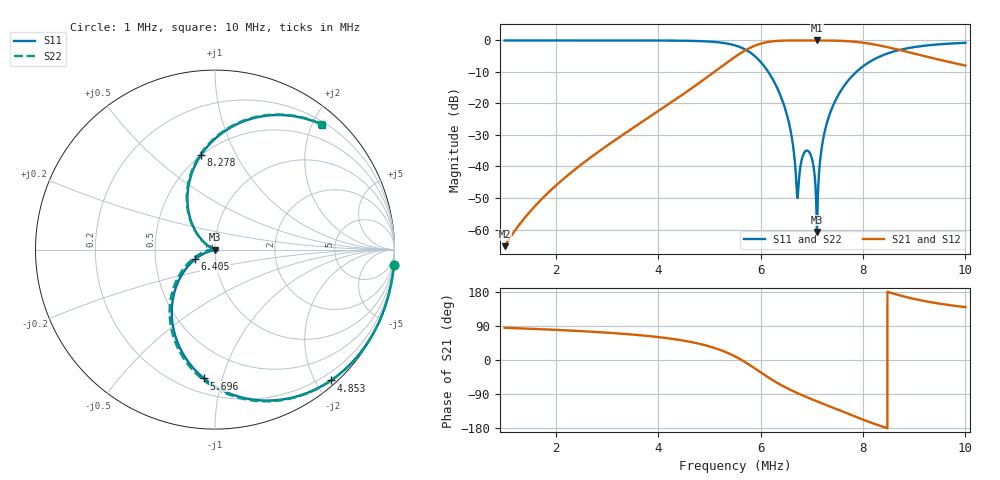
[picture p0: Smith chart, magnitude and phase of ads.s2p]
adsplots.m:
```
close all; clear; clc;

scriptDir = fileparts(mfilename("fullpath"));
epsDir = [scriptDir, '/eps/ads'];
mkdir(epsDir)

LW = 1;

%% ---------------- figure style ----------------
figW = 3.45;
figH = 2.25;



setYlimRule = @(ax,y) ylim(ax, [0.8*min(y) 1.2*max(y)]);


%% ---------------- Load MEAS data ----------------
ads = sparameters('data/rf_tank/ads.s2p');

freqsads = ads.Frequencies;
f=figure("Position",[100,100,600,600],Color='W');
plt = smithplot();
ax = f.CurrentAxes;
hold(ax,"on");
a=smithplot(ads,1,1);
% a.FontName = 'Roboto';
legend(ax,'off');
% fontname('Roboto');
a.ClipData = false;
a.FontSize = 10;
exportgraphics(ax,fullfile(epsDir, 's11.eps'),'ContentType','vector');

f=figure("Position",[100,100,400,400]);
ax=axes(f);

rfplot(ax,ads,2,1,"db");
xlim(ax,[1,10])
ylim(ax,[-80,10])
hold on
yyaxis right
rfplot(ax,ads,2,1,"angle")
ylabel('Phase (°)');
ylim([-225,135])
yticks(-360:45:180)
% applyStyle(ax);
legend(ax,'off');
yyaxis left;
% fontname('Roboto');
exportgraphics(ax,fullfile(epsDir, 's21.eps'),'ContentType','vector');

f=figure("Position",[100,100,400,400]);
ax=axes(f);
rfplot(ax,ads,1,2,"db");
xlim(ax,[1,10])
ylim(ax,[-80,10])
hold on
yyaxis right
rfplot(ax,ads,1,2,"angle")
ylabel('Phase (°)');
ylim([-225,135])
yticks(-360:45:180)
% applyStyle(ax);
legend(ax,'off');
yyaxis left;
% fontname('Roboto');
exportgraphics(ax,fullfile(epsDir, 's12.eps'),'ContentType','vector');

f=figure("Position",[100,100,600,600],Color='W');
plt = smithplot();
ax = f.CurrentAxes;
hold(ax,"on");
a=smithplot(ads,2,2);
a.ClipData = false;
a.FontSize = 10;
legend(ax,'off');
exportgraphics(ax,fullfile(epsDir, 's22.eps'),'ContentType','vector');

%% ---------------- Plot & export ----------------
% makeOneFig(f_MR,power_MR, ...
%     '$f\ (\mathrm{MHz})$', '$P_{MR}\ \mathrm{(dBm,\ relative)}$', ...
%     'fig_f_p_mr', LW, figW, figH, applyStyle, setYlimRule, outDir, legendLoc);


disp("EPS figures exported to the script folder successfully.");



function makeOneFig(x, y, xlab, ylab, fname, ...
                    LW, figW, figH, applyStyle, setYlimRule, outDir, legendLoc)

    fig = figure('Color','w','Units','inches','Position',[1 1 figW figH]);
    ax = axes(fig);
    hold(ax,'on');
    grid(ax,'on');

    h1 = plot(ax, x, y, '-', 'LineWidth', LW);
    % h2 = plot(ax, xm, ym, '-', 'LineWidth', LW);

    applyStyle(ax);
    % setYlimRule(ax, [ys(:); ym(:)]);

    xlabel(ax, xlab, 'Interpreter','latex', 'FontSize',9);
    ylabel(ax, ylab, 'Interpreter','latex', 'FontSize',9);

    % legend(ax, [h1 h2], {'Simulation','Measurement'}, ...
    %     'Interpreter','latex', ...
    %     'FontSize',8, ...
    %     'Box','off', ...
    %     'Location', legendLoc);
    
    exportgraphics(ax,fullfile(outDir, [fname, '.eps']))
    % set(fig,'Renderer','painters');
    % print(fig, fullfile(outDir, fname), '-depsc2', '-vector');
end
```
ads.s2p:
! Created Sun Jan 11 17:40:14 2026
# hz S ma R 50
! 2 Port Network Data from SP1.SP block
! freq  magS11  angS11  magS21  angS21  magS12  angS12  magS22  angS22
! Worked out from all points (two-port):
!   10001 points, 1 MHz to 10 MHz, reference 50 ohm
!   highest |S21| = 0.00 dB at 7.098 MHz (marker M1); lowest = -65.3 dB at 1 MHz (marker M2)
!   |S21| within 3 dB of the highest: 5.717 MHz to 8.711 MHz (2.995 MHz wide, 41.5 % of centre)
!   lowest |S11| = -60.8 dB at 7.101 MHz (marker M3), VSWR 1.00, Z = 50 - j0.0844 ohm
!   |S11| at or under -10 dB: 6.151 MHz to 7.869 MHz (1.718 MHz wide, 24.5 % of centre)
!   |S22| runs from -58.4 to 0.0 dB; largest |S21 - S12| = 0
!   S11 on the Smith chart (normalised r, x): 1 MHz: 0, -24; 4.853 MHz: 0.08, -2.22; 5.696 MHz: 0.29, -0.88; 6.405 MHz: 0.80, -0.09; 8.278 MHz: 0.50, +0.73; 10 MHz: 0.25, +2.15
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1000000  1 -4.9  0.000544 85.1  0.000544 85.1  1 -4.9
4852900  0.9736 -48.5  0.2276 41.2  0.2276 41.2  0.9736 -49.1
5500000  0.8354 -80.0  0.549 9.5  0.549 9.5  0.8354 -81.0
5696200  0.7207 -94.9  0.6926 -5.5  0.6926 -5.5  0.7207 -96.1
6405400  0.1231 -154.0  0.9919 -66.5  0.9919 -66.5  0.1231 -158.8
6714100  0.003349 -104.1  0.9996 -87.1  0.9996 -87.1  0.003308 110.3
7098400  0.001018 -84.5  0.9996 -108.9  0.9996 -108.9  0.001279 52.1
7101100  0.000914 -112.4  0.9996 -109.1  0.9996 -109.1  0.001199 73.7
7420600  0.09453 143.3  0.9951 -126.3  0.9951 -126.3  0.09453 143.8
8278300  0.5322 98.5  0.8461 -171.1  0.8461 -171.1  0.5322 99.2
1e7  0.9164 49.4  0.3999 139.6  0.3999 139.6  0.9164 49.8
